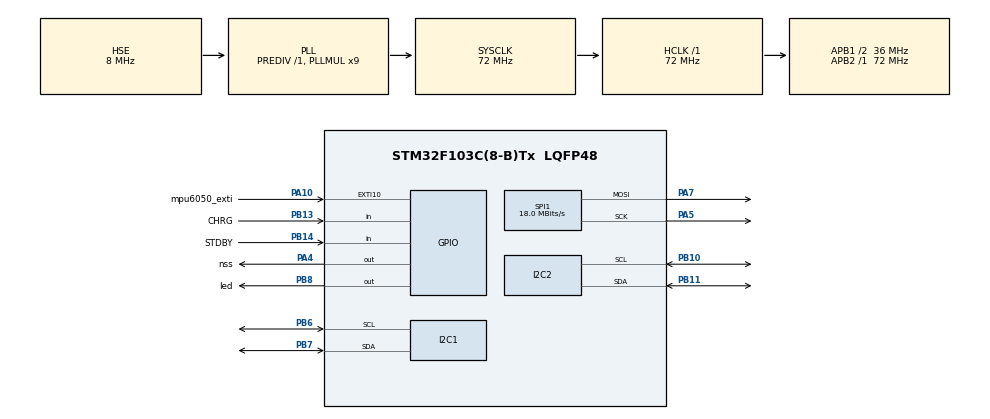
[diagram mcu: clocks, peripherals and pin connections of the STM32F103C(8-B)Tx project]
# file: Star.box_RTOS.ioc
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Dma.I2C1_RX.0.Direction=DMA_PERIPH_TO_MEMORY
Dma.I2C1_RX.0.Instance=DMA1_Channel7
Dma.I2C1_RX.0.MemDataAlignment=DMA_MDATAALIGN_BYTE
Dma.I2C1_RX.0.MemInc=DMA_MINC_ENABLE
Dma.I2C1_RX.0.Mode=DMA_NORMAL
Dma.I2C1_RX.0.PeriphDataAlignment=DMA_PDATAALIGN_BYTE
Dma.I2C1_RX.0.PeriphInc=DMA_PINC_DISABLE
Dma.I2C1_RX.0.Priority=DMA_PRIORITY_MEDIUM
Dma.Request0=I2C1_RX
Dma.Request1=SPI1_TX
Dma.SPI1_TX.1.Direction=DMA_MEMORY_TO_PERIPH
Dma.SPI1_TX.1.Instance=DMA1_Channel3
Dma.SPI1_TX.1.MemDataAlignment=DMA_MDATAALIGN_BYTE
Dma.SPI1_TX.1.MemInc=DMA_MINC_ENABLE
Dma.SPI1_TX.1.Mode=DMA_NORMAL
Dma.SPI1_TX.1.PeriphDataAlignment=DMA_PDATAALIGN_BYTE
Dma.SPI1_TX.1.PeriphInc=DMA_PINC_DISABLE
Dma.SPI1_TX.1.Priority=DMA_PRIORITY_LOW
FREERTOS.Tasks01=mainMenuTask,25,128,mainMenu,Default,NULL,Dynamic,NULL,NULL;refreshLightTas,24,128,refreshLight,Default,NULL,Dynamic,NULL,NULL;MPUTask,40,128,MPUWatch,Default,NULL,Dynamic,NULL,NULL;appTask,8,128,appRun,Default,NULL,Dynamic,NULL,NULL
FREERTOS.configUSE_NEWLIB_REENTRANT=0
Mcu.Family=STM32F1
Mcu.Name=STM32F103C(8-B)Tx
Mcu.Package=LQFP48
NVIC.DMA1_Channel3_IRQn=true\:5\:0\:false\:false\:true\:true\:false\:true\:true
NVIC.DMA1_Channel7_IRQn=true\:0\:0\:true\:false\:true\:false\:false\:true\:true
NVIC.PriorityGroup=NVIC_PRIORITYGROUP_4
NVIC.TIM1_UP_IRQn=true\:15\:0\:false\:false\:true\:false\:false\:true\:true
NVIC.TimeBase=TIM1_UP_IRQn
NVIC.TimeBaseIP=TIM1
PA10.GPIO_Label=mpu6050_exti
PA10.Signal=GPXTI10
PA13.Mode=Serial_Wire
PA13.Signal=SYS_JTMS-SWDIO
PA14.Mode=Serial_Wire
PA14.Signal=SYS_JTCK-SWCLK
PA4.GPIO_Label=nss
PA4.GPIO_PuPd=GPIO_PULLUP
PA4.PinState=GPIO_PIN_SET
PA4.Signal=GPIO_Output
PA5.Mode=TX_Only_Simplex_Unidirect_Master
PA5.Signal=SPI1_SCK
PA7.Mode=TX_Only_Simplex_Unidirect_Master
PA7.Signal=SPI1_MOSI
PB10.Mode=I2C
PB10.Signal=I2C2_SCL
PB11.Mode=I2C
PB11.Signal=I2C2_SDA
PB13.GPIO_Label=CHRG
PB13.GPIO_PuPd=GPIO_PULLUP
PB13.Signal=GPIO_Input
PB14.GPIO_Label=STDBY
PB14.GPIO_PuPd=GPIO_PULLUP
PB14.Signal=GPIO_Input
PB6.Mode=I2C
PB6.Signal=I2C1_SCL
PB7.Mode=I2C
PB7.Signal=I2C1_SDA
PB8.GPIO_Label=led
PB8.GPIO_ModeDefaultOutputPP=GPIO_MODE_OUTPUT_OD
PB8.GPIO_PuPd=GPIO_PULLUP
PB8.Signal=GPIO_Output
PC14-OSC32_IN.Mode=LSE-External-Oscillator
PC14-OSC32_IN.Signal=RCC_OSC32_IN
PC15-OSC32_OUT.Mode=LSE-External-Oscillator
PC15-OSC32_OUT.Signal=RCC_OSC32_OUT
PD0-OSC_IN.Mode=HSE-External-Oscillator
PD0-OSC_IN.Signal=RCC_OSC_IN
PD1-OSC_OUT.Mode=HSE-External-Oscillator
PD1-OSC_OUT.Signal=RCC_OSC_OUT
ProjectManager.HeapSize=0x200
ProjectManager.StackSize=0x400
ProjectManager.TargetToolchain=Makefile
RCC.AHBFreq_Value=72000000
RCC.APB1CLKDivider=RCC_HCLK_DIV2
RCC.APB1Freq_Value=36000000
RCC.APB1TimFreq_Value=72000000
RCC.APB2Freq_Value=72000000
RCC.APB2TimFreq_Value=72000000
RCC.HCLKFreq_Value=72000000
RCC.PLLMUL=RCC_PLL_MUL9
RCC.PLLSourceVirtual=RCC_PLLSOURCE_HSE
RCC.SYSCLKFreq_VALUE=72000000
RCC.SYSCLKSource=RCC_SYSCLKSOURCE_PLLCLK
RCC.USBFreq_Value=48000000
RCC.USBPrescaler=RCC_USBCLKSOURCE_PLL_DIV1_5
SPI1.BaudRatePrescaler=SPI_BAUDRATEPRESCALER_4
SPI1.CalculateBaudRate=18.0 MBits/s
SPI1.Direction=SPI_DIRECTION_2LINES
SPI1.Mode=SPI_MODE_MASTER
SPI1.VirtualType=VM_MASTER
VP_FREERTOS_VS_CMSIS_V2.Mode=CMSIS_V2
VP_SYS_VS_tim1.Mode=TIM1
board=custom

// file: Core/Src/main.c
/* USER CODE BEGIN Header */
/**
  ******************************************************************************
  * @file           : main.c
  * @brief          : Main program body
  ******************************************************************************
  * @attention
  *
  * Copyright (c) 2024 STMicroelectronics.
  * All rights reserved.
  *
  * This software is licensed under terms that can be found in the LICENSE file
  * in the root directory of this software component.
  * If no LICENSE file comes with this software, it is provided AS-IS.
  *
  ******************************************************************************
  */
/* USER CODE END Header */
#include "main.h"
#include "cmsis_os.h"
#include "dma.h"
#include "i2c.h"
#include "spi.h"
#include "gpio.h"

/* USER CODE BEGIN Includes */
#include "light.h"
#include "MPU6050.h"
#include "DRV2605L.h"

/* USER CODE END Includes */

/* USER CODE BEGIN PV */
uint8_t MPU6050_Buffer[14];

/* USER CODE END PV */

void SystemClock_Config(void);
void MX_FREERTOS_Init(void);

int main(void)
{

  /* MCU Configuration--------------------------------------------------------*/

  /* Reset of all peripherals, Initializes the Flash interface and the Systick. */
  HAL_Init();

  /* Configure the system clock */
  SystemClock_Config();

  /* Initialize all configured peripherals */
  MX_GPIO_Init();
  MX_DMA_Init();
  MX_I2C1_Init();
  MX_SPI1_Init();
  MX_I2C2_Init();
  /* USER CODE BEGIN 2 */
  HAL_GPIO_WritePin(led_GPIO_Port,led_Pin,GPIO_PIN_SET);

  HAL_Delay(1000);
  Light_init();
  DRV2605L_Init();
  //Light_BlockSet();
  MPU6050_initialize();

  /* USER CODE END 2 */

  /* Init scheduler */
  osKernelInitialize();

  /* Call init function for freertos objects (in cmsis_os2.c) */
  MX_FREERTOS_Init();

  /* Start scheduler */
  osKernelStart();

  /* We should never get here as control is now taken by the scheduler */

  /* Infinite loop */
  while (1)
  {

  }
}

void SystemClock_Config(void)
{
  RCC_OscInitTypeDef RCC_OscInitStruct = {0};
  RCC_ClkInitTypeDef RCC_ClkInitStruct = {0};

  /** Initializes the RCC Oscillators according to the specified parameters
  * in the RCC_OscInitTypeDef structure.
  */
  RCC_OscInitStruct.OscillatorType = RCC_OSCILLATORTYPE_HSE;
  RCC_OscInitStruct.HSEState = RCC_HSE_ON;
  RCC_OscInitStruct.HSEPredivValue = RCC_HSE_PREDIV_DIV1;
  RCC_OscInitStruct.HSIState = RCC_HSI_ON;
  RCC_OscInitStruct.PLL.PLLState = RCC_PLL_ON;
  RCC_OscInitStruct.PLL.PLLSource = RCC_PLLSOURCE_HSE;
  RCC_OscInitStruct.PLL.PLLMUL = RCC_PLL_MUL9;
  if (HAL_RCC_OscConfig(&RCC_OscInitStruct) != HAL_OK)
  {
    Error_Handler();
  }

  /** Initializes the CPU, AHB and APB buses clocks
  */
  RCC_ClkInitStruct.ClockType = RCC_CLOCKTYPE_HCLK|RCC_CLOCKTYPE_SYSCLK
                              |RCC_CLOCKTYPE_PCLK1|RCC_CLOCKTYPE_PCLK2;
  RCC_ClkInitStruct.SYSCLKSource = RCC_SYSCLKSOURCE_PLLCLK;
  RCC_ClkInitStruct.AHBCLKDivider = RCC_SYSCLK_DIV1;
  RCC_ClkInitStruct.APB1CLKDivider = RCC_HCLK_DIV2;
  RCC_ClkInitStruct.APB2CLKDivider = RCC_HCLK_DIV1;

  if (HAL_RCC_ClockConfig(&RCC_ClkInitStruct, FLASH_LATENCY_2) != HAL_OK)
  {
    Error_Handler();
  }
}

void HAL_TIM_PeriodElapsedCallback(TIM_HandleTypeDef *htim)
{
  if (htim->Instance == TIM1) {
    HAL_IncTick();
  }
}

void Error_Handler(void)
{
  __disable_irq();
  while (1)
  {
  }
}

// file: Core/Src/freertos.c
/* USER CODE BEGIN Header */
/**
  ******************************************************************************
  * File Name          : freertos.c
  * Description        : Code for freertos applications
  ******************************************************************************
  * @attention
  *
  * Copyright (c) 2024 STMicroelectronics.
  * All rights reserved.
  *
  * This software is licensed under terms that can be found in the LICENSE file
  * in the root directory of this software component.
  * If no LICENSE file comes with this software, it is provided AS-IS.
  *
  ******************************************************************************
  */
/* USER CODE END Header */

#include "FreeRTOS.h"
#include "task.h"
#include "main.h"
#include "cmsis_os.h"

/* USER CODE BEGIN Includes */
#include "queue.h"
#include "semphr.h"

#include "light.h"
#include "MPU6050.h"
#include "DRV2605L.h"
#include "math.h"
#include <stdlib.h>
#include <stdbool.h>

#include "app/snake.h"
#include "app/display.h"
#include "app/setting.h"

/* USER CODE END Includes */

/* USER CODE BEGIN PD */

#define PointFront 0
#define PointBack 1
#define PointRight 2
#define PointLeft 3

#define MAX32BITS 0xffffffff

/* USER CODE END PD */

/* USER CODE BEGIN Variables */

enum mpuStatus
{
  AxP,AxN,AyP,AyN,AzP,AzN,GyP,GyN
};

uint8_t fullled[8]={0xff,0xff,0xff,0xff,0xff,0xff,0xff,0xff};
uint8_t shutdown[5][8]={0};

uint8_t Pback[8]={
  0b00000000,
  0b00011000,
  0b00111100,
  0b01111110,
  0b00011000,
  0b00011000,
  0b00000000,
  0b00000000

};
uint8_t Pfront[8] = {
  0b00000000,
  0b00000000,
  0b00011000,
  0b00011000,
  0b01111110,
  0b00111100,
  0b00011000,
  0b00000000
};
uint8_t Pleft[8] = {
  0b00000000,
  0b00010000,
  0b00110000,
  0b01111100,
  0b01111100,
  0b00110000,
  0b00010000,
  0b00000000
};
uint8_t Pright[8] = {
  0b00000000,
  0b00001000,
  0b00001100,
  0b00111110,
  0b00111110,
  0b00001100,
  0b00001000,
  0b00000000
};

uint8_t settingLed[5][8]={0};
uint8_t beginLed[5][8];
uint8_t (*ledBlock)[8];

typedef struct MenuItem {
  uint8_t block[8];
  struct MenuItem *front;
  struct MenuItem *back;
  struct MenuItem *left;
  struct MenuItem *right;
  struct MenuItem *last;
  void (*action)(void);
}MenuItem;

typedef struct pointer
{
  uint8_t block[8];
  MenuItem *point;
  uint8_t status; //1左 2前 3右 4后
}pointer;

MenuItem *nowMenu;
pointer *Pointer;
MenuItem *root;
MenuItem *setting;
MenuItem *shutdownMode;

MenuItem *display;
MenuItem *display1;
MenuItem *display2;
MenuItem *display3;
MenuItem *display4;

MenuItem *game;

MenuItem *nullMenu;

void (*runAction)(void);

uint32_t menuTimeout;

uint8_t ActionStatus=0;//0停止应用  1允许运行

int8_t lightInten=0;
uint8_t lightMode=0; //0普通模式 1呼吸模式

/* USER CODE END Variables */
/* Definitions for mainMenuTask */
osThreadId_t mainMenuTaskHandle;
const osThreadAttr_t mainMenuTask_attributes = {
  .name = "mainMenuTask",
  .stack_size = 128 * 4,
  .priority = (osPriority_t) osPriorityNormal1,
};
/* Definitions for refreshLightTas */
osThreadId_t refreshLightTasHandle;
const osThreadAttr_t refreshLightTas_attributes = {
  .name = "refreshLightTas",
  .stack_size = 128 * 4,
  .priority = (osPriority_t) osPriorityNormal,
};
/* Definitions for MPUTask */
osThreadId_t MPUTaskHandle;
const osThreadAttr_t MPUTask_attributes = {
  .name = "MPUTask",
  .stack_size = 128 * 4,
  .priority = (osPriority_t) osPriorityHigh,
};
/* Definitions for appTask */
osThreadId_t appTaskHandle;
const osThreadAttr_t appTask_attributes = {
  .name = "appTask",
  .stack_size = 128 * 4,
  .priority = (osPriority_t) osPriorityLow,
};

/* USER CODE BEGIN FunctionPrototypes */

void menuInit();

void rootAction();
void displayAction1();
void displayAction2();
void displayAction3();
void displayAction4();
void shutdownAction();

void settingAction();

void gameSnakeAction();

/* USER CODE END FunctionPrototypes */

void mainMenu(void *argument);
void refreshLight(void *argument);
void MPUWatch(void *argument);
void appRun(void *argument);

void MX_FREERTOS_Init(void); /* (MISRA C 2004 rule 8.1) */

void MX_FREERTOS_Init(void) {

  /* Create the thread(s) */
  /* creation of mainMenuTask */
  mainMenuTaskHandle = osThreadNew(mainMenu, NULL, &mainMenuTask_attributes);

  /* creation of refreshLightTas */
  refreshLightTasHandle = osThreadNew(refreshLight, NULL, &refreshLightTas_attributes);

  /* creation of MPUTask */
  MPUTaskHandle = osThreadNew(MPUWatch, NULL, &MPUTask_attributes);

  /* creation of appTask */
  appTaskHandle = osThreadNew(appRun, NULL, &appTask_attributes);

}

void mainMenu(void *argument)
{
  /* USER CODE BEGIN mainMenu */

  menuInit();

  vTaskSuspend(NULL);
  /* Infinite loop */
  for(;;)
  {
    vTaskSuspend(appTaskHandle);
    ActionStatus=0;
    uint32_t mpuVal;
    uint8_t leddataTemp[5][8];
    memcpy(leddataTemp[0],Pointer->block, sizeof(Pointer->block));
    memcpy(leddataTemp[1],nowMenu->left->block,sizeof(nowMenu->left->block));
    memcpy(leddataTemp[2],nowMenu->front->block,sizeof(nowMenu->front->block));
    memcpy(leddataTemp[3],nowMenu->right->block,sizeof(nowMenu->right->block));
    memcpy(leddataTemp[4],nowMenu->back->block,sizeof(nowMenu->back->block));
    ledBlock=leddataTemp;
    if(xTaskNotifyWait(MAX32BITS,MAX32BITS,&mpuVal,pdMS_TO_TICKS(12000))==pdTRUE)
    {
      if(mpuVal==AzP)
      {
        if(!Pointer->point->action&&Pointer->point->front)
        {
          nowMenu=Pointer->point;
          switch (Pointer->status)
          {
          case 1:
            Pointer->point=Pointer->point->left;
            break;
          case 2:
            Pointer->point=Pointer->point->front;
            break;
          case 3:
            Pointer->point=Pointer->point->right;
            break;
          case 4:
            Pointer->point=Pointer->point->back;
            break;
          }
        }
        else
        {
          if(Pointer->point->action)runAction=Pointer->point->action;
          vTaskResume(appTaskHandle);
          vTaskSuspend(NULL);
        }
      }
      else if(mpuVal==GyN)
      {
        if(nowMenu->last)
        {
          nowMenu=nowMenu->last;
          runAction=shutdownAction;
        }
      }
      else if(mpuVal==AxP)
      {
        Pointer->point=nowMenu->front;
        Pointer->status=2;
        memcpy(Pointer->block,Pfront,sizeof(Pfront));
      }
      else if(mpuVal==AxN)
      {
        Pointer->point=nowMenu->back;
        Pointer->status=4;
        memcpy(Pointer->block,Pback,sizeof(Pfront));
      }
      else if(mpuVal==AyP)
      {
        Pointer->point=nowMenu->left;
        Pointer->status=1;
        memcpy(Pointer->block,Pleft,sizeof(Pfront));
      }
      else if(mpuVal==AyN)
      {
        Pointer->point=nowMenu->right;
        Pointer->status=3;
        memcpy(Pointer->block,Pright,sizeof(Pfront));
      }
    }
    else
    {
      runAction=shutdownAction;
      vTaskResume(appTaskHandle);
      vTaskSuspend(NULL);
    }

    vTaskDelay(pdMS_TO_TICKS(100));  // 每100ms执行一次循环

  }
  /* USER CODE END mainMenu */
}

void refreshLight(void *argument)
{
  /* USER CODE BEGIN refreshLight */

  for (int i = 0; i < 5; i++)
  {
    memcpy(beginLed[i], fullled, sizeof(fullled));
  }

  ledBlock=beginLed;

  memcpy(settingLed[0],tipMid,sizeof(tipMid));

  memcpy(settingLed[1],tipLemind,sizeof(tipLemind));
  memcpy(settingLed[3],tipRiNomind,sizeof(tipRiNomind));

  uint8_t IncreaseAndDecrease = 0; //0:+ 1:-
  /* Infinite loop */
  for(;;)
  {
    if(lightMode==1){
      if(IncreaseAndDecrease==1){
        lightInten--;
      }else if(IncreaseAndDecrease==0){
        lightInten++;
      }

      if(lightInten>0x0f)
      {
        IncreaseAndDecrease=1;
        lightInten=0x0f;
      }
      if(lightInten<0x00)
      {
        IncreaseAndDecrease=0;
        lightInten=0x00;
      }
    }
    Light_Tx(MAX7219_REG_INTENSITY,lightInten);
    LightsendLEDGraphics(ledBlock);
    vTaskDelay(pdMS_TO_TICKS(100));
  }
  /* USER CODE END refreshLight */
}

void MPUWatch(void *argument)
{
  /* USER CODE BEGIN MPUWatch */

  /* Infinite loop */
  for(;;)
  {

    MPU6050_StartDMArx();
    vTaskDelay(pdMS_TO_TICKS(5));

    if(datampu.Az>1.2&&eTaskGetState(mainMenuTaskHandle)==eSuspended)  //如果超过加速度阈值就唤醒菜单
    {
      LRA_Start();                      //马达起振
      vTaskDelay(pdMS_TO_TICKS(3));
      LRA_Stop();
      vTaskResume(mainMenuTaskHandle);
      vTaskDelay(1000);
      MPU6050_StartDMArx();
      vTaskDelay(pdMS_TO_TICKS(5));
    }
    if(eTaskGetState(mainMenuTaskHandle)==eBlocked)
    {
      if(datampu.Az>0.3)
      {
        LRA_Start();                      //马达起振
        vTaskDelay(pdMS_TO_TICKS(3));
        LRA_Stop();
        xTaskNotify(mainMenuTaskHandle,AzP,eSetValueWithOverwrite);
        vTaskDelay(1000);
      }
      else if(datampu.Gy<-150){xTaskNotify(mainMenuTaskHandle,GyN,eSetValueWithOverwrite);}
      else if(datampu.Ax>0.7) {xTaskNotify(mainMenuTaskHandle,AxP,eSetValueWithOverwrite);xTaskNotify(appTaskHandle,AxP,eSetValueWithOverwrite);}
      else if(datampu.Ax<-0.7){xTaskNotify(mainMenuTaskHandle,AxN,eSetValueWithOverwrite);xTaskNotify(appTaskHandle,AxN,eSetValueWithOverwrite);}
      else if(datampu.Ay>0.7) {xTaskNotify(mainMenuTaskHandle,AyP,eSetValueWithOverwrite);xTaskNotify(appTaskHandle,AyP,eSetValueWithOverwrite);}
      else if(datampu.Ay<-0.7){xTaskNotify(mainMenuTaskHandle,AyN,eSetValueWithOverwrite);xTaskNotify(appTaskHandle,AyN,eSetValueWithOverwrite);}
    }
    if(datampu.Ax>0.7)      {xTaskNotify(appTaskHandle,AxP,eSetValueWithOverwrite);}
    else if(datampu.Ax<-0.7){xTaskNotify(appTaskHandle,AxN,eSetValueWithOverwrite);}
    else if(datampu.Ay>0.7) {xTaskNotify(appTaskHandle,AyP,eSetValueWithOverwrite);}
    else if(datampu.Ay<-0.7){xTaskNotify(appTaskHandle,AyN,eSetValueWithOverwrite);}

    vTaskDelay(pdMS_TO_TICKS(10));  //采样率

  }
  /* USER CODE END MPUWatch */
}

void appRun(void *argument)
{
  /* USER CODE BEGIN appRun */
  /* Infinite loop */
  for(;;)
  {
    if(runAction)runAction();
    osDelay(10);
  }
  /* USER CODE END appRun */
}

/* USER CODE BEGIN Application */

void menuInit()
{

  //init menu val

  nowMenu=malloc(sizeof(MenuItem));
  Pointer=malloc(sizeof(pointer));
  root=malloc(sizeof(MenuItem));
  setting=malloc(sizeof(MenuItem));
  shutdownMode=malloc(sizeof(MenuItem));

  display=malloc(sizeof(MenuItem));
  display1=malloc(sizeof(MenuItem));
  display2=malloc(sizeof(MenuItem));
  display3=malloc(sizeof(MenuItem));
  display4=malloc(sizeof(MenuItem));

  game=malloc(sizeof(MenuItem));

  nullMenu=malloc(sizeof(MenuItem));

  //nullMenu
  memcpy(nullMenu->block,fullled,sizeof(fullled));
  nullMenu->action=NULL;
  nullMenu->back=NULL;
  nullMenu->front=NULL;
  nullMenu->left=NULL;
  nullMenu->right=NULL;
  nullMenu->last=NULL;

  //root
  root->front=display;
  root->left=setting;
  root->right=game;
  root->back=shutdownMode;
  root->action=NULL;
  root->last=root;

  //pointer
  Pointer->status=2;
  Pointer->point=display;
  memcpy(Pointer->block,Pfront,sizeof(Pfront));

  //setting
  uint8_t settingicon[8] = {
    0x00,
    0x5a,
    0x24,
    0x5a,
    0x5a,
    0x24,
    0x5a,
    0x00
  };
  memcpy(setting->block,settingicon,sizeof(settingicon));
  setting->action=settingAction;
  setting->last=root;

  //display
  uint8_t displayicon[8]={
  0b00000000,
  0b00000000,
  0b00011000,
  0b00100100,
  0b01000010,
  0b01111110,
  0b00000000,
  0b00000000
  };
  memcpy(display->block,displayicon,sizeof(displayicon));
  display->action=NULL;
  display->last=root;
  display->front=display1;
  display->left=display2;
  display->right=display3;
  display->back=display4;
  //1
  uint8_t display1icon[8]={
  0b10000001,
  0b01111110,
  0b01011010,
  0b01111110,
  0b01111110,
  0b01011010,
  0b01111110,
  0b10000001
  };
  memcpy(display1->block,display1icon,sizeof(display1icon));
  display1->action=displayAction1;
  display1->back=NULL;
  display1->front=NULL;
  display1->left=NULL;
  display1->right=NULL;
  display1->last=display;
  //2
  uint8_t display2icon[8]={
  0b01111110,
  0b10100101,
  0b11011011,
  0b01100110,
  0b01100110,
  0b11011011,
  0b10100101,
  0b01111110
  };
  memcpy(display2->block,display2icon,sizeof(display2icon));
  display2->action=displayAction2;
  display2->back=NULL;
  display2->front=NULL;
  display2->left=NULL;
  display2->right=NULL;
  display2->last=display;
  //3
  uint8_t display3icon[8]={
  0b11000011,
  0b10011001,
  0b00111100,
  0b01111110,
  0b01111110,
  0b00111100,
  0b10011001,
  0b11000011
  };
  memcpy(display3->block,display3icon,sizeof(display3icon));
  display3->action=displayAction3;
  display3->back=NULL;
  display3->front=NULL;
  display3->left=NULL;
  display3->right=NULL;
  display3->last=display;
  //4
  uint8_t display4icon[8]={
  0b11100111,
  0b10100101,
  0b11000011,
  0b00011000,
  0b00011000,
  0b11000011,
  0b10100101,
  0b11100111
  };
  memcpy(display4->block,display4icon,sizeof(display4icon));
  display4->action=displayAction4;
  display4->back=NULL;
  display4->front=NULL;
  display4->left=NULL;
  display4->right=NULL;
  display4->last=display;

  //game
  uint8_t gameicon[8]={
  0b00000000,
  0b00000110,
  0b01110100,
  0b01010100,
  0b01010100,
  0b01011100,
  0b01000000,
  0b00000000
  };
  memcpy(game->block,gameicon,sizeof(gameicon));
  game->action=gameSnakeAction;
  game->last=root;
  game->back=NULL;
  game->front=NULL;
  game->left=NULL;
  game->right=NULL;

  //shutdownMode
  uint8_t shutdownModeicon[8]={
  0b00000000,
  0b00111100,
  0b00000010,
  0b01111010,
  0b01111010,
  0b00000010,
  0b00111100,
  0b00000000
  };
  memcpy(shutdownMode->block,shutdownModeicon,sizeof(shutdownModeicon));
  shutdownMode->action=shutdownAction;
  shutdownMode->back=NULL;
  shutdownMode->front=NULL;
  shutdownMode->left=NULL;
  shutdownMode->right=NULL;
  shutdownMode->last=root;

  nowMenu=root;
}

void rootAction()
{
  uint8_t IncreaseAndDecrease = 0; //0:+ 1:-
  uint8_t Intval=0;

  for(;;)
  {

    ledBlock=beginLed;
    if(IncreaseAndDecrease==0)
    {
      Light_Tx(MAX7219_REG_INTENSITY,Intval);
      Intval++;
    }
    if(IncreaseAndDecrease==1)
    {
      Light_Tx(MAX7219_REG_INTENSITY,Intval);
      Intval--;
    }
    if(Intval>0x0f)
    {
      IncreaseAndDecrease=1;
      Intval=0x0f;
    }
    if(Intval<0x01)
    {
      IncreaseAndDecrease=0;
      Intval=0x00;
    }
    vTaskDelay(100);
  }
}

void displayAction1()
{
  ledBlock=beginLed;
  vTaskDelay(100);
}
void displayAction2()
{
  ActionStatus=1;
  display1Main(&ledBlock,&ActionStatus);
}
void displayAction3()
{
  ActionStatus=1;
  display2Main(&ledBlock,&ActionStatus);
}
void displayAction4()
{
  ActionStatus=1;
  display3Main(&ledBlock,&ActionStatus);
}

void shutdownAction()
{
  ledBlock=shutdown;
  vTaskDelay(1000);
}

void gameSnakeAction()
{
  ActionStatus=1;
  snakeGame(&ledBlock,&ActionStatus);
}

void settingAction()
{
  ledBlock=settingLed;
  ActionStatus=1;
  while (1){
    if(ActionStatus==0)break;
    uint32_t mpuVal;
    if(xTaskNotifyWait(MAX32BITS,MAX32BITS,&mpuVal,pdMS_TO_TICKS(100))==pdTRUE){
      if(mpuVal==AxP){  //前倾斜
        if(lightInten<15)lightInten++;
        memcpy(settingLed[0],tipFront,sizeof(tipFront));
      }else if(mpuVal==AxN){
        if(lightInten>0)lightInten--;
        memcpy(settingLed[0],tipBack,sizeof(tipBack));
      }else if(mpuVal==AyP){
        if(ActionStatus==0)break;
        lightMode=0;
        memcpy(settingLed[1],tipLemind,sizeof(tipLemind));
        memcpy(settingLed[3],tipRiNomind,sizeof(tipRiNomind));
        mpuVal=-1;
        memcpy(settingLed[0],tipLeft,sizeof(tipLeft));
      }else if(mpuVal==AyN){
        if(ActionStatus==0)break;
        lightMode=1;
        memcpy(settingLed[1],tipLeNomind,sizeof(tipLeNomind));
        memcpy(settingLed[3],tipRimind,sizeof(tipRimind));
        mpuVal=-1;
        memcpy(settingLed[0],tipRight,sizeof(tipRight));
      }
      uint8_t cho=(lightInten+1)/2;
      memcpy(settingLed[2],tipInten[cho],sizeof(tipInten[cho]));
      memcpy(settingLed[4],tipInten[cho],sizeof(tipInten[cho]));

      vTaskDelay(500);
    }else {
      memcpy(settingLed[0],tipMid,sizeof(tipMid));
    }

  }

}

/* USER CODE END Application */
